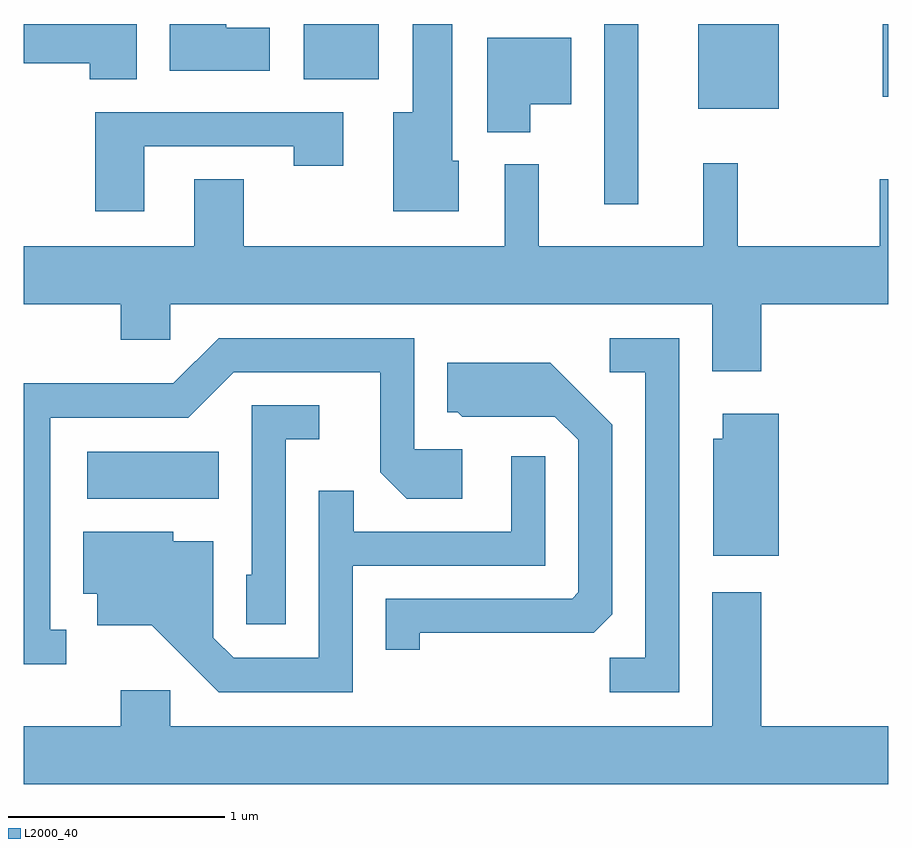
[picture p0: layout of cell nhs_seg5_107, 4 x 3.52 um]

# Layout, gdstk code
import gdstk
lib = gdstk.Library(unit=1e-6, precision=1e-09)
def R(c, l, rs):  # rectangles x0, y0, x1, y1
    for r in rs: c.add(gdstk.rectangle(r[:2], r[2:], *l))
def P(c, l, *ps):  # polygons
    for p in ps: c.add(gdstk.Polygon(p, *l))
L2000_40 = (2000, 40)

nhs_seg5_107 = lib.new_cell('nhs_seg5_107')
R(nhs_seg5_107, L2000_40, [(187.906,1475.876,188.514,1476.094), (190.296,1477.238,190.454,1478.072), (190.731,1477.681,191.104,1478.072), (191.586,1477.736,191.611,1478.072), (188.906,1477.816,189.254,1478.072)])
P(nhs_seg5_107, L2000_40, [(188.749,1478.054),(188.549,1478.054),(188.549,1478.072),(188.286,1478.072),(188.286,1477.856),(188.749,1477.856)],
  [(189.624,1477.439),(189.594,1477.439),(189.594,1478.072),(189.411,1478.072),(189.411,1477.664),(189.321,1477.664),(189.321,1477.206),(189.624,1477.206)],
  [(188.134,1478.072),(187.611,1478.072),(187.611,1477.891),(187.916,1477.891),(187.916,1477.816),(188.134,1477.816)],
  [(189.954,1477.701),(190.144,1477.701),(190.144,1478.009),(189.756,1478.009),(189.756,1477.571),(189.954,1477.571)],
  [(188.169,1477.506),(188.861,1477.506),(188.861,1477.416),(189.089,1477.416),(189.089,1477.664),(187.941,1477.664),(187.941,1477.206),(188.169,1477.206)],
  [(191.024,1476.776),(191.611,1476.776),(191.611,1477.354),(191.571,1477.354),(191.571,1477.044),(190.914,1477.044),(190.914,1477.428),(190.756,1477.428),(190.756,1477.044),(189.994,1477.044),(189.994,1477.423),(189.836,1477.423),(189.836,1477.044),(188.629,1477.044),(188.629,1477.354),(188.401,1477.354),(188.401,1477.044),(187.611,1477.044),(187.611,1476.776),(188.061,1476.776),(188.061,1476.611),(188.289,1476.611),(188.289,1476.776),(190.796,1476.776),(190.796,1476.466),(191.024,1476.466)],
  [(187.808,1475.269),(187.734,1475.269),(187.734,1476.251),(188.372,1476.251),(188.582,1476.461),(189.261,1476.461),(189.261,1475.999),(189.384,1475.876),(189.639,1475.876),(189.639,1476.104),(189.419,1476.104),(189.419,1476.619),(188.514,1476.619),(188.304,1476.409),(187.611,1476.409),(187.611,1475.111),(187.808,1475.111)],
  [(190.644,1476.619),(190.323,1476.619),(190.323,1476.461),(190.486,1476.461),(190.486,1475.139),(190.323,1475.139),(190.323,1474.981),(190.644,1474.981)],
  [(189.444,1475.256),(190.249,1475.256),(190.334,1475.342),(190.334,1476.217),(190.047,1476.504),(189.571,1476.504),(189.571,1476.276),(189.619,1476.276),(189.639,1476.256),(190.069,1476.256),(190.176,1476.149),(190.176,1475.442),(190.149,1475.414),(189.286,1475.414),(189.286,1475.178),(189.444,1475.178)],
  [(188.824,1476.151),(188.978,1476.151),(188.978,1476.309),(188.666,1476.309),(188.666,1475.524),(188.641,1475.524),(188.641,1475.296),(188.824,1475.296)],
  [(191.104,1476.269),(190.846,1476.269),(190.846,1476.154),(190.801,1476.154),(190.801,1475.611),(191.104,1475.611)],
  [(189.134,1475.566),(190.024,1475.566),(190.024,1476.073),(189.866,1476.073),(189.866,1475.724),(189.139,1475.724),(189.139,1475.913),(188.976,1475.913),(188.976,1475.139),(188.582,1475.139),(188.489,1475.232),(188.489,1475.679),(188.304,1475.679),(188.304,1475.724),(187.886,1475.724),(187.886,1475.436),(187.951,1475.436),(187.951,1475.291),(188.204,1475.291),(188.514,1474.981),(189.134,1474.981)],
  [(191.611,1474.824),(191.024,1474.824),(191.024,1475.444),(190.796,1475.444),(190.796,1474.824),(188.289,1474.824),(188.289,1474.989),(188.061,1474.989),(188.061,1474.824),(187.611,1474.824),(187.611,1474.556),(191.611,1474.556)])

lib.write_gds('nhs_seg5_107.gds')
